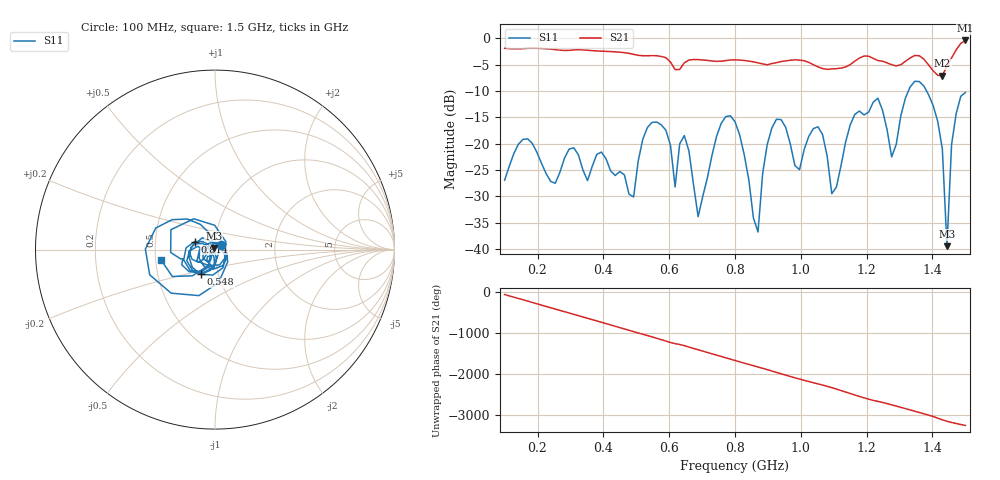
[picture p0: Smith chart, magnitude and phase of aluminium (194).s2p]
! NanoVNA-App
! Date: 2025-09-25 14:56:47
! Start: 100MHz Stop: 1,5GHz Points: 101
! S-Parameter data: F S11 S21 S12 S22
# Hz S RI R 50
!  Frequency  S11_Real  S11_Imag  S21_Real  S21_Imag  S12_Real  S12_Imag  S22_Real  S22_Imag
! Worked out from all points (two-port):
!   101 points, 100 MHz to 1.5 GHz, reference 50 ohm
!   highest |S21| = -0.43 dB at 1.5 GHz (marker M1); lowest = -7.1 dB at 1.43 GHz (marker M2)
!   |S21| within 3 dB of the highest: start of sweep to 572.6 MHz; 1.461 GHz to end of sweep (the widest 2 of 4)
!   lowest |S11| = -39.4 dB at 1.444 GHz (marker M3), VSWR 1.02, Z = 49.3 + j0.827 ohm
!   |S11| at or under -10 dB: start of sweep to 1.327 GHz; 1.382 GHz to end of sweep
!   S12 and S22 are empty: the file has one direction only
!   S11 on the Smith chart (normalised r, x): 100 MHz: 1.07, +0.06; 548 MHz: 0.82, -0.23; 814 MHz: 0.79, +0.07; 1.5 GHz: 0.54, -0.07
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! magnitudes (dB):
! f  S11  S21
! 100 MHz  -27.0  -1.9
! 338 MHz  -25.0  -2.2
! 492 MHz  -30.1  -3.1
! 548 MHz  -16.0  -3.3
! 576 MHz  -16.4  -3.5
! 618 MHz  -28.2  -6.0
! 646 MHz  -18.5  -4.7
! 688 MHz  -33.9  -4.1
! 800 MHz  -15.8  -4.1
! 814 MHz  -18.3  -4.2
! 870 MHz  -36.8  -4.7
! 926 MHz  -15.4  -4.6
! 996 MHz  -24.9  -4.2
! 1.038 GHz  -17.2  -5.0
! 1.094 GHz  -29.5  -5.8
! 1.234 GHz  -11.4  -4.2
! 1.276 GHz  -22.5  -5.0
! 1.346 GHz  -8.2  -3.3
! 1.43 GHz  -21.0  -7.1
! 1.444 GHz  -39.4  -5.3
! 1.458 GHz  -20.2  -3.8
! 1.5 GHz  -10.3  -0.4
